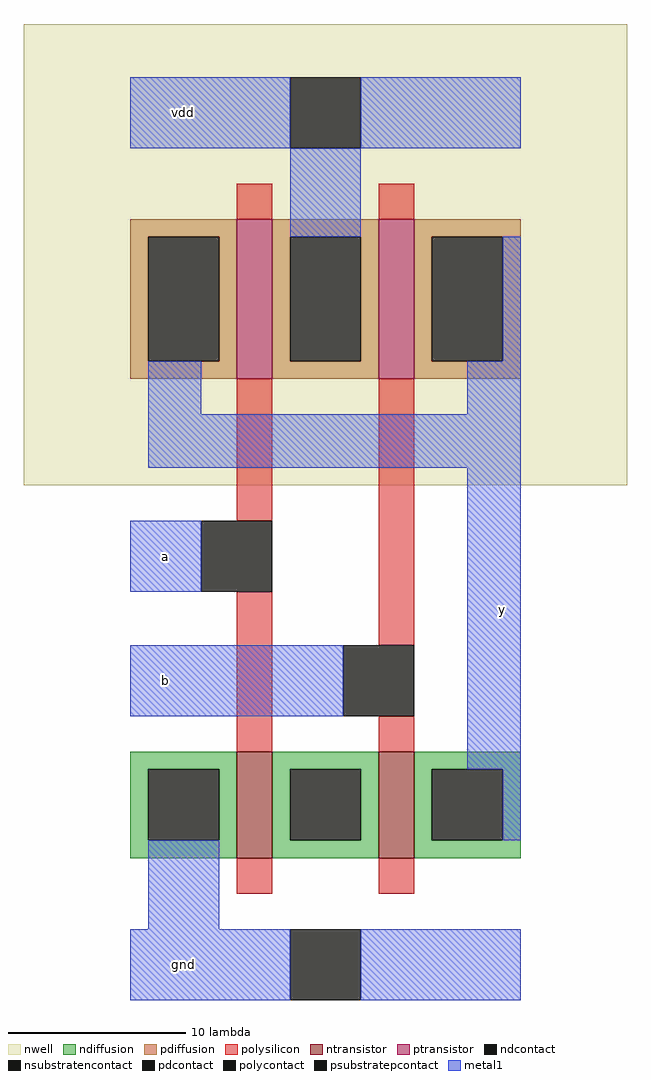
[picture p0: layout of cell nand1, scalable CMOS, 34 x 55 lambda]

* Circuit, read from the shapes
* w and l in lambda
.subckt nand1 a b gnd vdd y
M1 n1 a gnd gnd nfet w=6 l=2
M2 y b n1 gnd nfet w=6 l=2
M3 vdd a y vdd pfet w=9 l=2
M4 y b vdd vdd pfet w=9 l=2
.ends

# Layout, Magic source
magic
tech scmos
<< nwell >>
rect -56 22 -22 48
<< ntransistor >>
rect -44 1 -42 7
rect -36 1 -34 7
<< ptransistor >>
rect -44 28 -42 37
rect -36 28 -34 37
<< ndiffusion >>
rect -50 6 -44 7
rect -50 2 -49 6
rect -45 2 -44 6
rect -50 1 -44 2
rect -42 6 -36 7
rect -42 2 -41 6
rect -37 2 -36 6
rect -42 1 -36 2
rect -34 6 -28 7
rect -34 2 -33 6
rect -29 2 -28 6
rect -34 1 -28 2
<< pdiffusion >>
rect -50 36 -44 37
rect -50 29 -49 36
rect -45 29 -44 36
rect -50 28 -44 29
rect -42 36 -36 37
rect -42 29 -41 36
rect -37 29 -36 36
rect -42 28 -36 29
rect -34 36 -28 37
rect -34 29 -33 36
rect -29 29 -28 36
rect -34 28 -28 29
<< ndcontact >>
rect -49 2 -45 6
rect -41 2 -37 6
rect -33 2 -29 6
<< pdcontact >>
rect -49 29 -45 36
rect -41 29 -37 36
rect -33 29 -29 36
<< psubstratepcontact >>
rect -41 -7 -37 -3
<< nsubstratencontact >>
rect -41 41 -37 45
<< polysilicon >>
rect -44 37 -42 39
rect -36 37 -34 39
rect -44 20 -42 28
rect -44 7 -42 16
rect -36 13 -34 28
rect -36 7 -34 9
rect -44 -1 -42 1
rect -36 -1 -34 1
<< polycontact >>
rect -46 16 -42 20
rect -38 9 -34 13
<< metal1 >>
rect -50 41 -41 45
rect -37 41 -28 45
rect -41 36 -37 41
rect -29 29 -28 36
rect -49 26 -46 29
rect -31 26 -28 29
rect -49 23 -28 26
rect -50 16 -46 20
rect -50 9 -38 13
rect -31 6 -28 23
rect -29 2 -28 6
rect -49 -3 -45 2
rect -50 -7 -41 -3
rect -37 -7 -28 -3
<< labels >>
rlabel metal1 -47 43 -47 43 5 vdd
rlabel metal1 -47 -5 -47 -5 1 gnd
rlabel metal1 -29 15 -29 15 1 y
rlabel metal1 -48 18 -48 18 1 a
rlabel metal1 -48 11 -48 11 1 b
<< end >>
